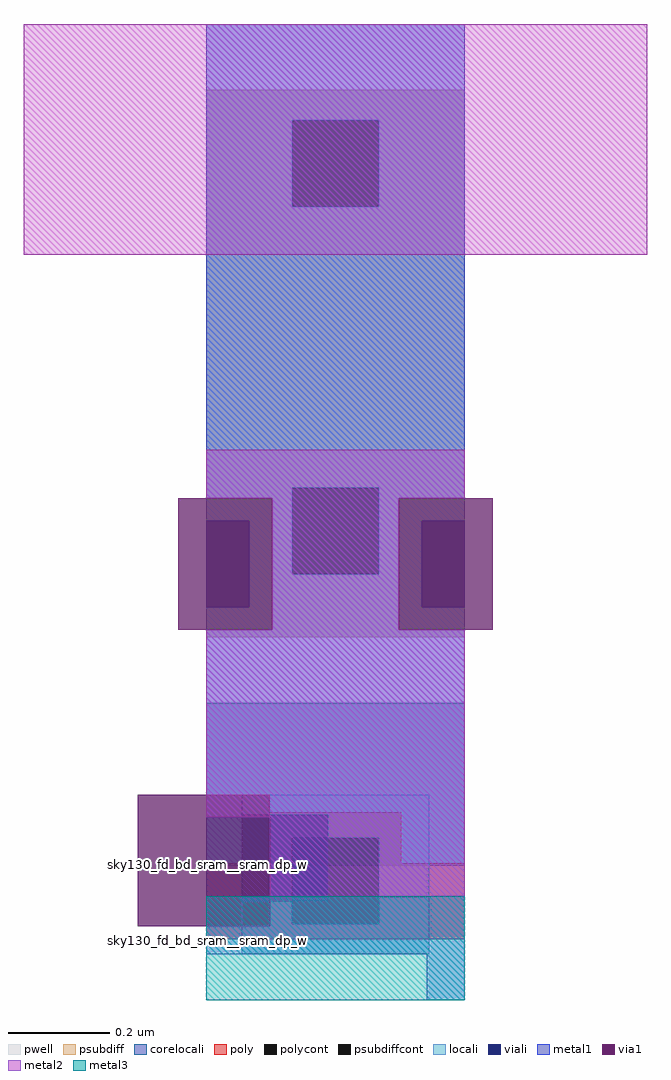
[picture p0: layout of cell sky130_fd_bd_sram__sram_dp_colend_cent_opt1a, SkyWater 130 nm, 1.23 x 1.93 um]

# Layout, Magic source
magic
tech sky130A
magscale 1 2
use sky130_fd_bd_sram__sram_dp_colend_cent_base  sky130_fd_bd_sram__sram_dp_colend_cent_base_0
transform 1 0 0 0 1 0
box -72 0 174 385
use sky130_fd_bd_sram__sram_dp_wls_poly_sizing_opta  sky130_fd_bd_sram__sram_dp_wls_poly_sizing_opta_0
transform 1 0 0 0 -1 24
box 0 0 1 1
use sky130_fd_bd_sram__sram_dp_wls_poly_sizing_optb  sky130_fd_bd_sram__sram_dp_wls_poly_sizing_optb_0
transform 1 0 0 0 -1 54
box 0 0 1 1
<< properties >>
string GDS_FILE sky130_fd_bd_sram__sram_dp_colend_cent_opt1a.gds
string GDS_END 3274
string GDS_START 3046
<< end >>

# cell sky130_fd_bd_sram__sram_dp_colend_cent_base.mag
magic
tech sky130A
magscale 1 2
<< pwell >>
rect 0 143 102 359
<< psubdiff >>
rect 0 347 102 359
rect 0 313 34 347
rect 68 313 102 347
rect 0 202 102 313
rect 0 168 34 202
rect 68 168 102 202
rect 0 143 102 168
<< psubdiffcont >>
rect 34 313 68 347
rect 34 168 68 202
<< locali >>
rect 0 347 102 385
rect 0 313 34 347
rect 68 313 102 347
rect 0 202 102 313
rect 0 189 34 202
rect 17 168 34 189
rect 68 189 102 202
rect 68 168 85 189
rect 17 155 85 168
rect 0 117 102 155
<< corelocali >>
rect 0 53 102 117
<< viali >>
rect 0 155 17 189
rect 85 155 102 189
<< metal1 >>
rect 0 198 102 385
rect 26 146 76 198
rect 0 18 102 146
rect 87 0 102 18
<< via1 >>
rect -11 189 26 198
rect -11 155 0 189
rect 0 155 17 189
rect 17 155 26 189
rect -11 146 26 155
rect 76 189 113 198
rect 76 155 85 189
rect 85 155 102 189
rect 102 155 113 189
rect 76 146 113 155
<< metal2 >>
rect -72 294 174 385
rect 0 198 102 217
rect 26 146 76 198
rect 0 72 102 146
use sky130_fd_bd_sram__sram_dp_wls_half  sky130_fd_bd_sram__sram_dp_wls_half_0
transform 1 0 -20 0 1 0
box -7 0 122 100
<< properties >>
string GDS_FILE sky130_fd_bd_sram__sram_dp_colend_cent_base.gds
string GDS_END 2034
string GDS_START 930
<< end >>

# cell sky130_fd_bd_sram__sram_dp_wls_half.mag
magic
tech sky130A
magscale 1 2
<< poly >>
rect 45 64 97 74
rect 45 54 54 64
rect 20 30 54 54
rect 88 54 97 64
rect 88 30 122 54
rect 20 24 122 30
<< polycont >>
rect 54 30 88 64
<< locali >>
rect 34 73 108 81
rect 68 64 108 73
rect 34 30 54 39
rect 88 30 108 64
rect 34 18 108 30
<< viali >>
rect 34 64 68 73
rect 34 39 54 64
rect 54 39 68 64
<< metal1 >>
rect 20 84 55 100
tri 55 84 71 100 sw
rect 20 81 71 84
rect 45 73 71 81
rect 68 39 71 73
rect 45 29 71 39
rect 20 18 71 29
<< via1 >>
rect -7 73 45 81
rect -7 39 34 73
rect 34 39 45 73
rect -7 29 45 39
<< metal2 >>
rect 20 81 60 86
rect 45 72 60 81
rect 45 29 122 72
rect 20 24 122 29
<< metal3 >>
rect 20 0 122 41
<< properties >>
string GDS_FILE sky130_fd_bd_sram__sram_dp_wls_half.gds
string GDS_END 846
string GDS_START 162
<< end >>
